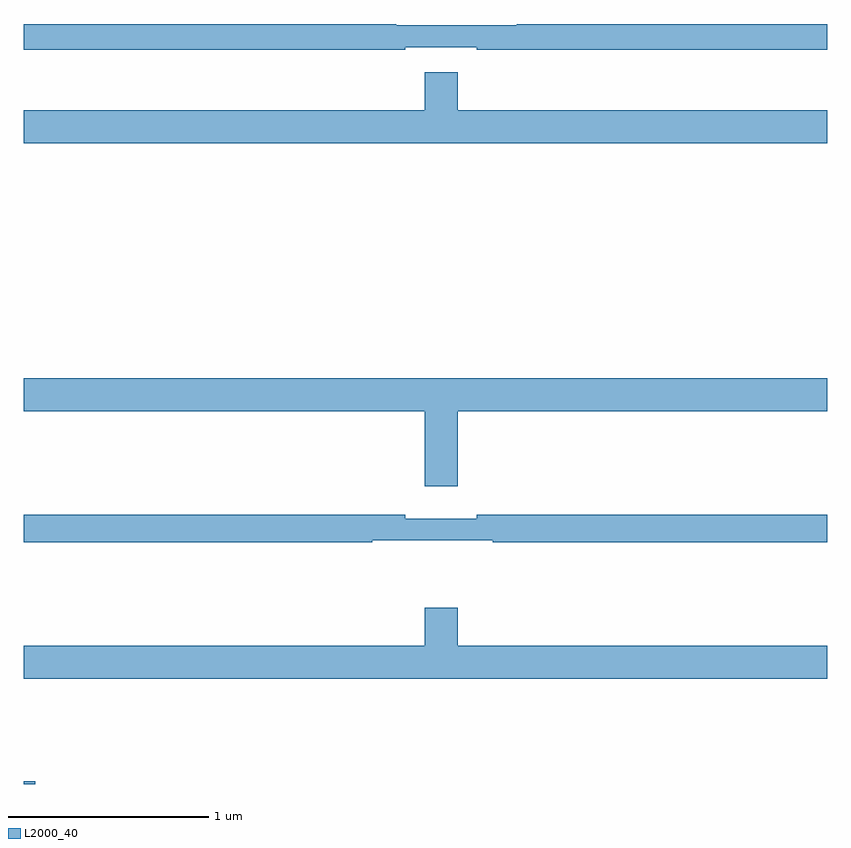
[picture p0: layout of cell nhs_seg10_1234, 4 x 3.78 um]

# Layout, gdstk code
import gdstk
lib = gdstk.Library(unit=1e-6, precision=1e-09)
def R(c, l, rs):  # rectangles x0, y0, x1, y1
    for r in rs: c.add(gdstk.rectangle(r[:2], r[2:], *l))
def P(c, l, *ps):  # polygons
    for p in ps: c.add(gdstk.Polygon(p, *l))
L2000_40 = (2000, 40)

nhs_seg10_1234 = lib.new_cell('nhs_seg10_1234')
R(nhs_seg10_1234, L2000_40, [(175,1258.5,175.057,1258.514)])
P(nhs_seg10_1234, L2000_40, [(176.9,1262.166),(177.256,1262.166),(177.256,1262.154),(179,1262.154),(179,1262.282),(177.454,1262.282),(177.454,1262.275),(176.854,1262.275),(176.854,1262.282),(175,1262.282),(175,1262.154),(176.9,1262.154)],
  [(179,1261.852),(177.16,1261.852),(177.16,1262.041),(176.996,1262.041),(176.996,1261.852),(175,1261.852),(175,1261.688),(179,1261.688)],
  [(177.16,1260.356),(179,1260.356),(179,1260.52),(175,1260.52),(175,1260.356),(176.996,1260.356),(176.996,1259.982),(177.16,1259.982)],
  [(176.734,1259.712),(177.334,1259.712),(177.334,1259.704),(179,1259.704),(179,1259.84),(177.256,1259.84),(177.256,1259.821),(176.9,1259.821),(176.9,1259.84),(175,1259.84),(175,1259.704),(176.734,1259.704)],
  [(179,1259.188),(177.16,1259.188),(177.16,1259.377),(176.996,1259.377),(176.996,1259.188),(175,1259.188),(175,1259.024),(179,1259.024)])

lib.write_gds('nhs_seg10_1234.gds')
